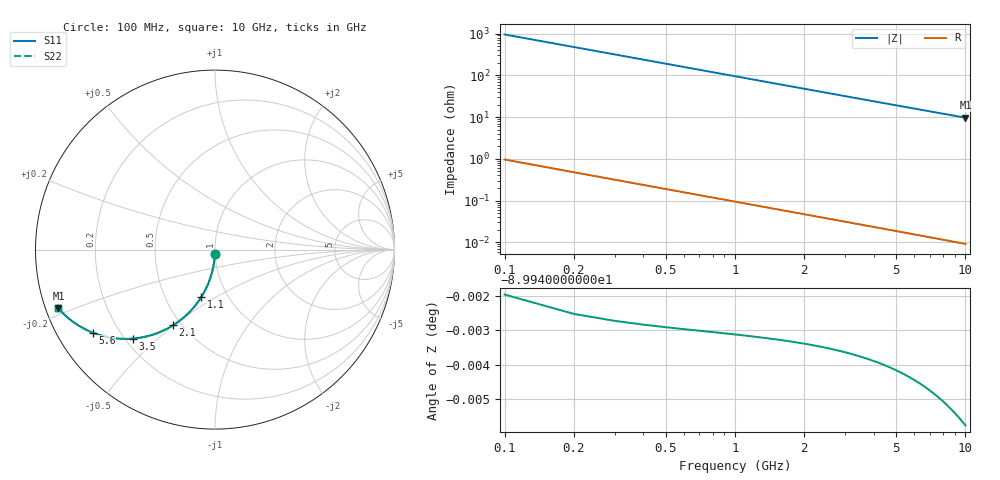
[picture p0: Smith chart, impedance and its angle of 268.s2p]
# Hz S RI R 50.00
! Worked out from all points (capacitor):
!   100 points, 100 MHz to 10 GHz, reference 50 ohm
!   read as one part in shunt: C = 1.67 pF near 100 MHz
!   lowest |Z| = 9.69 ohm at 10 GHz (marker M1)
!   S11 on the Smith chart (normalised r, x): 100 MHz: 1.00, -0.05; 1.1 GHz: 0.75, -0.43; 2.1 GHz: 0.45, -0.50; 3.5 GHz: 0.23, -0.42; 5.6 GHz: 0.11, -0.30; 10 GHz: 0.04, -0.18
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1e8  -0.000698 -0.0262  0.9993 -0.0263  0.9993 -0.0263  -0.000698 -0.0262
2e8  -0.00279 -0.0523  0.9972 -0.0525  0.9972 -0.0525  -0.00279 -0.0523
3e8  -0.00624 -0.0782  0.9937 -0.0785  0.9937 -0.0785  -0.00624 -0.0782
4e8  -0.011 -0.1037  0.9889 -0.1042  0.9889 -0.1042  -0.011 -0.1037
5e8  -0.0171 -0.1289  0.9829 -0.1294  0.9829 -0.1294  -0.0171 -0.1289
6e8  -0.0244 -0.1535  0.9756 -0.1541  0.9756 -0.1541  -0.0244 -0.1535
7e8  -0.0329 -0.1775  0.9671 -0.1782  0.9671 -0.1782  -0.0329 -0.1775
9e8  -0.0531 -0.2234  0.9468 -0.2243  0.9468 -0.2243  -0.0531 -0.2234
1.1e9  -0.0773 -0.266  0.9227 -0.2671  0.9227 -0.2671  -0.0773 -0.266
1.4e9  -0.1194 -0.323  0.8806 -0.3244  0.8806 -0.3244  -0.1194 -0.323
1.8e9  -0.1829 -0.3851  0.8171 -0.387  0.8171 -0.387  -0.1829 -0.3851
2.1e9  -0.2333 -0.4214  0.7666 -0.4235  0.7666 -0.4235  -0.2333 -0.4214
2.7e9  -0.3344 -0.4699  0.6656 -0.4727  0.6656 -0.4727  -0.3344 -0.4699
3.4e9  -0.4431 -0.4945  0.5569 -0.498  0.5569 -0.498  -0.4431 -0.4945
3.5e9  -0.4574 -0.4959  0.5426 -0.4995  0.5426 -0.4995  -0.4574 -0.4959
4.3e9  -0.5595 -0.4937  0.4404 -0.4982  0.4404 -0.4982  -0.5595 -0.4937
5.1e9  -0.6408 -0.4766  0.3591 -0.4819  0.3591 -0.4819  -0.6408 -0.4766
5.6e9  -0.6825 -0.4621  0.3174 -0.4679  0.3174 -0.4679  -0.6825 -0.4621
6.7e9  -0.7544 -0.4264  0.2455 -0.4334  0.2455 -0.4334  -0.7544 -0.4264
7.5e9  -0.7937 -0.4002  0.2063 -0.4081  0.2063 -0.4081  -0.7937 -0.4002
8.4e9  -0.8282 -0.3722  0.1717 -0.3811  0.1717 -0.3811  -0.8282 -0.3722
1e10  -0.8722 -0.328  0.1277 -0.3386  0.1277 -0.3386  -0.8722 -0.328
